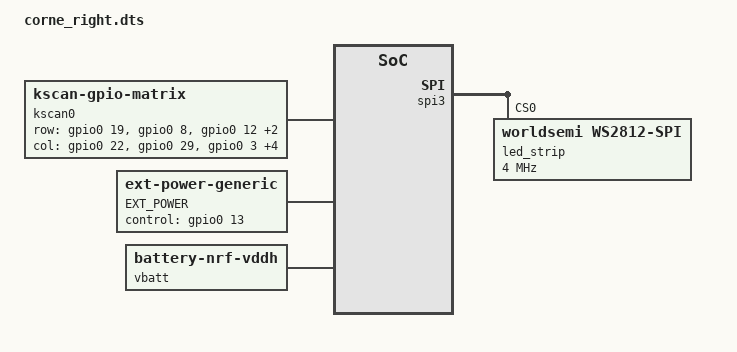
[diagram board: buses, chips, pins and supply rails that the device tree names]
/*
*
* Copyright (c) 2021 Darryl deHaan
* SPDX-License-Identifier: MIT
*
*/
#include "corne.dtsi"

/{
    chosen {
        zmk,battery = &vbatt;
    };

    kscan0: kscan {
        compatible = "zmk,kscan-gpio-matrix";
        wakeup-source;
        diode-direction = "col2row";
        row-gpios
            = <&gpio0 19 (GPIO_ACTIVE_HIGH | GPIO_PULL_DOWN)>
            , <&gpio0 8 (GPIO_ACTIVE_HIGH | GPIO_PULL_DOWN)>
            , <&gpio0 12 (GPIO_ACTIVE_HIGH | GPIO_PULL_DOWN)>
            , <&gpio0 11 (GPIO_ACTIVE_HIGH | GPIO_PULL_DOWN)>
            , <&gpio1 9 (GPIO_ACTIVE_HIGH | GPIO_PULL_DOWN)>
            ;

        col-gpios
           = <&gpio0 22 GPIO_ACTIVE_HIGH>
            , <&gpio0 29 GPIO_ACTIVE_HIGH>
            , <&gpio0 3 GPIO_ACTIVE_HIGH>
            , <&gpio0 28 GPIO_ACTIVE_HIGH>
            , <&gpio0 30 GPIO_ACTIVE_HIGH>
            , <&gpio0 21 GPIO_ACTIVE_HIGH>
            , <&gpio0 23 GPIO_ACTIVE_HIGH>
            ;
    };

    ext-power {
        compatible = "zmk,ext-power-generic";
        label = "EXT_POWER";
        control-gpios = <&gpio0 13 GPIO_ACTIVE_HIGH>;
         init-delay-ms = <50>;
    };

     vbatt: vbatt {
        compatible = "zmk,battery-nrf-vddh";
  //      init-delay-ms = <50>;
    };

};
&default_transform {
    col-offset = <7>;
};

&spi3 {
    compatible = "nordic,nrf-spim";
    status = "okay";

    pinctrl-0 = <&spi3_default>;
    pinctrl-1 = <&spi3_sleep>;
    pinctrl-names = "default", "sleep";

    led_strip: ws2812@0 {
        compatible = "worldsemi,ws2812-spi";

        /* SPI */
        reg = <0>; /* ignored, but necessary for SPI bindings */
        spi-max-frequency = <4000000>;

        /* WS2812 */
        chain-length = <7>; /* 6 keys have underglow at the moment */
        spi-one-frame = <0x70>;
        spi-zero-frame = <0x40>;

        color-mapping = <LED_COLOR_ID_GREEN LED_COLOR_ID_RED LED_COLOR_ID_BLUE>;
    };
};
